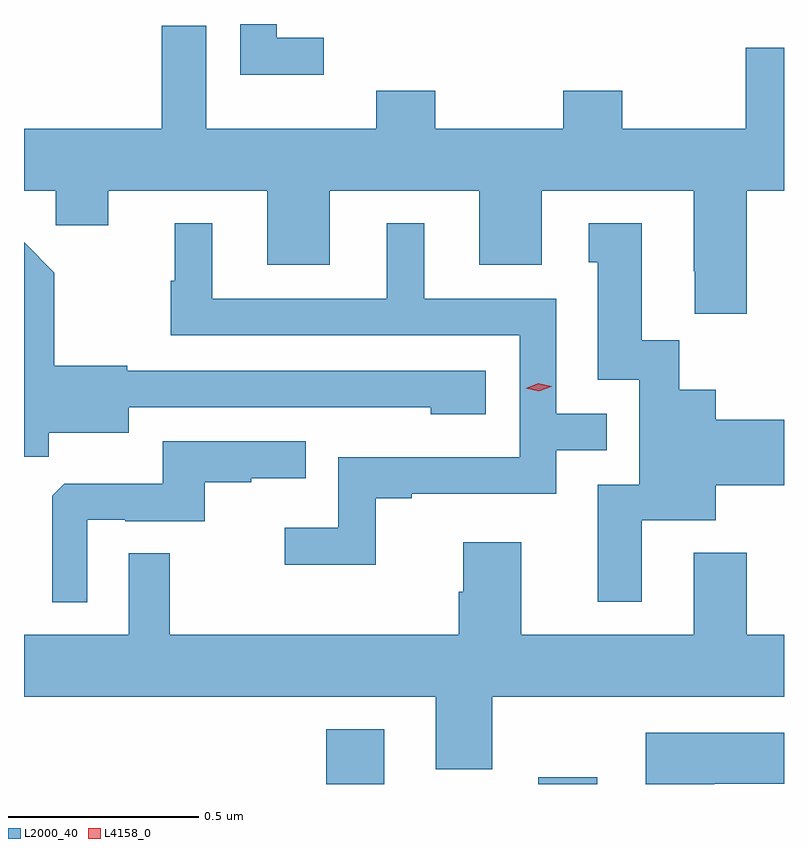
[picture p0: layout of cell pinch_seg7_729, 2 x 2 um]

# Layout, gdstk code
import gdstk
lib = gdstk.Library(unit=1e-6, precision=1e-09)
def R(c, l, rs):  # rectangles x0, y0, x1, y1
    for r in rs: c.add(gdstk.rectangle(r[:2], r[2:], *l))
def P(c, l, *ps):  # polygons
    for p in ps: c.add(gdstk.Polygon(p, *l))
L2000_40 = (2000, 40)
L4158_0 = (4158, 0)

pinch_seg7_729 = lib.new_cell('pinch_seg7_729')
R(pinch_seg7_729, L2000_40, [(278.141,1003.051,278.293,1003.195), (278.698,1003.051,278.854,1003.069)])
P(pinch_seg7_729, L2000_40, [(278.134,1005.015),(278.01,1005.015),(278.01,1005.051),(277.914,1005.051),(277.914,1004.918),(278.134,1004.918)],
  [(279.247,1004.612),(279.345,1004.612),(279.345,1004.988),(279.244,1004.988),(279.244,1004.776),(278.919,1004.776),(278.919,1004.875),(278.764,1004.875),(278.764,1004.776),(278.427,1004.776),(278.427,1004.875),(278.272,1004.875),(278.272,1004.776),(277.825,1004.776),(277.825,1005.047),(277.707,1005.047),(277.707,1004.776),(277.345,1004.776),(277.345,1004.612),(277.429,1004.612),(277.429,1004.522),(277.567,1004.522),(277.567,1004.612),(277.985,1004.612),(277.985,1004.418),(278.149,1004.418),(278.149,1004.612),(278.543,1004.612),(278.543,1004.418),(278.707,1004.418),(278.707,1004.612),(279.107,1004.612),(279.107,1004.401),(279.11,1004.401),(279.11,1004.289),(279.247,1004.289)],
  [(278.971,1003.745),(279.166,1003.745),(279.166,1003.837),(279.345,1003.837),(279.345,1004.009),(279.166,1004.009),(279.166,1004.089),(279.069,1004.089),(279.069,1004.219),(278.971,1004.219),(278.971,1004.527),(278.831,1004.527),(278.831,1004.424),(278.855,1004.424),(278.855,1004.115),(278.964,1004.115),(278.964,1003.839),(278.855,1003.839),(278.855,1003.53),(278.971,1003.53)],
  [(278.271,1003.803),(278.365,1003.803),(278.365,1003.815),(278.745,1003.815),(278.745,1003.929),(278.878,1003.929),(278.878,1004.025),(278.745,1004.025),(278.745,1004.328),(278.398,1004.328),(278.398,1004.527),(278.3,1004.527),(278.3,1004.328),(277.84,1004.328),(277.84,1004.527),(277.742,1004.527),(277.742,1004.376),(277.731,1004.376),(277.731,1004.232),(278.649,1004.232),(278.649,1003.911),(278.172,1003.911),(278.172,1003.726),(278.031,1003.726),(278.031,1003.628),(278.271,1003.628)],
  [(277.41,1003.976),(277.621,1003.976),(277.621,1004.043),(278.179,1004.043),(278.179,1004.042),(278.415,1004.042),(278.415,1004.024),(278.56,1004.024),(278.56,1004.139),(277.617,1004.139),(277.617,1004.152),(277.425,1004.152),(277.425,1004.397),(277.345,1004.477),(277.345,1003.912),(277.41,1003.912)],
  [(277.512,1003.746),(277.612,1003.746),(277.612,1003.743),(277.82,1003.743),(277.82,1003.845),(277.943,1003.845),(277.943,1003.856),(278.087,1003.856),(278.087,1003.953),(277.71,1003.953),(277.71,1003.841),(277.451,1003.841),(277.419,1003.809),(277.419,1003.529),(277.512,1003.529)],
  [(278.577,1003.28),(279.345,1003.28),(279.345,1003.444),(279.247,1003.444),(279.247,1003.66),(279.107,1003.66),(279.107,1003.444),(278.653,1003.444),(278.653,1003.687),(278.501,1003.687),(278.501,1003.557),(278.489,1003.557),(278.489,1003.444),(277.729,1003.444),(277.729,1003.658),(277.62,1003.658),(277.62,1003.444),(277.345,1003.444),(277.345,1003.28),(278.429,1003.28),(278.429,1003.09),(278.577,1003.09)],
  [(279.161,1003.052),(279.345,1003.052),(279.345,1003.186),(278.981,1003.186),(278.981,1003.051),(279.161,1003.051)])
P(pinch_seg7_729, L4158_0, [(278.7,1004.085),(278.665,1004.092),(278.665,1004.093),(278.665,1004.093),(278.698,1004.105),(278.733,1004.098),(278.734,1004.098),(278.733,1004.097)])

lib.write_gds('pinch_seg7_729.gds')
